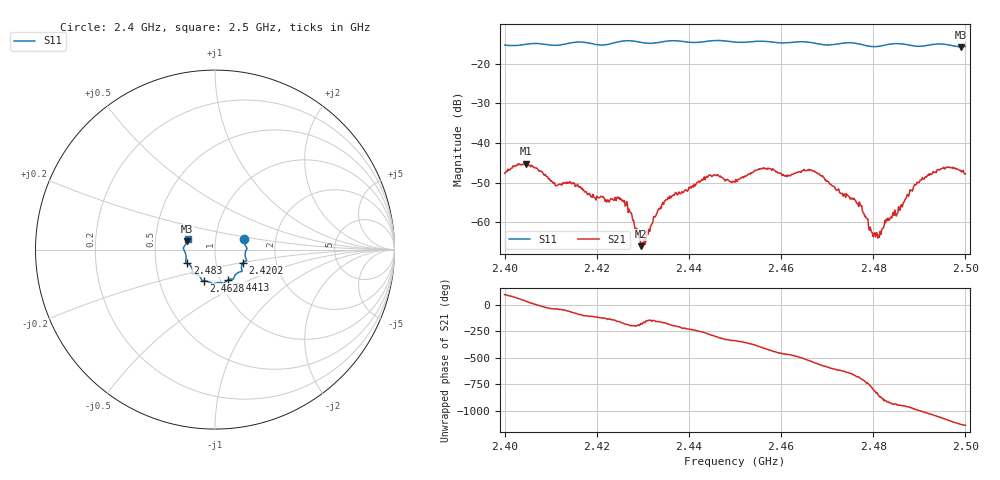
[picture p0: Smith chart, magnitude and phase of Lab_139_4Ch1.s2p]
# Hz S RI R 50
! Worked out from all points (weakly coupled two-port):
!   601 points, 2.4 GHz to 2.5 GHz, reference 50 ohm
!   highest |S21| = -45.25 dB at 2.4047 GHz (marker M1); lowest = -66.0 dB at 2.4297 GHz (marker M2)
!   lowest |S11| = -15.8 dB at 2.499 GHz (marker M3), VSWR 1.39, Z = 36.4 + j3.39 ohm
!   |S11| at or under -10 dB: start of sweep to end of sweep
!   S12 and S22 are empty: the file has one direction only
!   S11 on the Smith chart (normalised r, x): 2.4 GHz: 1.37, +0.16; 2.4202 GHz: 1.35, -0.20; 2.4413 GHz: 1.09, -0.38; 2.4628 GHz: 0.83, -0.30; 2.483 GHz: 0.72, -0.11; 2.5 GHz: 0.73, +0.09
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2.4e9  0.1612 0.0572  -0.000386 0.00412  0 0  0 0
2.404667e9  0.1742 0.0142  0.00461 0.00293  0 0  0 0
2.411e9  0.1682 -0.0208  0.00219 -0.00189  0 0  0 0
2.416667e9  0.176 -0.0615  -0.00025 -0.00263  0 0  0 0
2.420167e9  0.1564 -0.0729  -0.00093 -0.00187  0 0  0 0
2.426167e9  0.1518 -0.1196  -0.0016 7.22e-05  0 0  0 0
2.429667e9  0.1356 -0.1249  -0.000501 2.73e-05  0 0  0 0
2.433333e9  0.1081 -0.1484  -0.00134 -0.000528  0 0  0 0
2.441333e9  0.0746 -0.1681  -0.00136 0.00254  0 0  0 0
2.444833e9  0.0528 -0.186  0.00105 0.00375  0 0  0 0
2.45e9  0.0292 -0.1839  0.00298 0.00115  0 0  0 0
2.456e9  -0.0122 -0.1904  0.00329 -0.00353  0 0  0 0
2.462833e9  -0.0629 -0.1745  -0.00217 -0.00353  0 0  0 0
2.466667e9  -0.0743 -0.1674  -0.0045 -0.000134  0 0  0 0
2.477e9  -0.1247 -0.1242  0.00156 0.000901  0 0  0 0
2.48e9  -0.1315 -0.0963  0.000101 -0.000651  0 0  0 0
2.4815e9  -0.1427 -0.084  -0.000682 -0.000361  0 0  0 0
2.483e9  -0.1548 -0.0765  -0.000988 0.000356  0 0  0 0
2.483333e9  -0.1569 -0.0756  -0.00101 0.00033  0 0  0 0
2.490667e9  -0.1644 -0.0208  0.00119 0.00346  0 0  0 0
2.499e9  -0.1556 0.0453  0.00282 -0.00354  0 0  0 0
2.5e9  -0.1529 0.0587  0.00196 -0.00357  0 0  0 0
